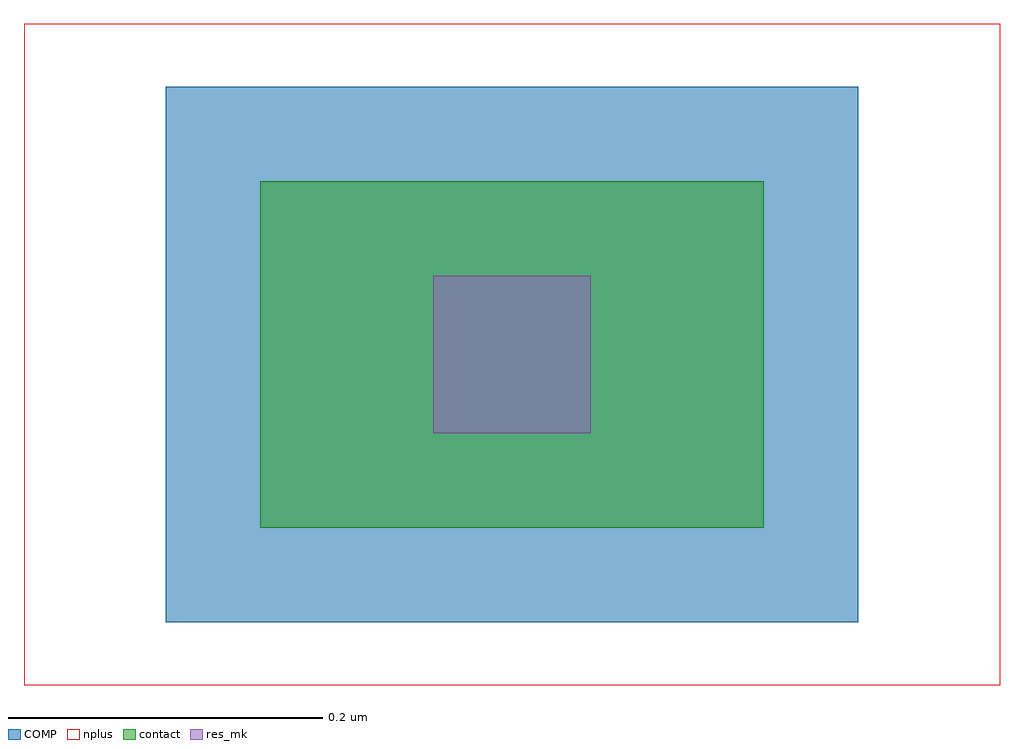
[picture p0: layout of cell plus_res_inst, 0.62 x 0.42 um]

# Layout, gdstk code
import gdstk
lib = gdstk.Library(unit=1e-6, precision=1e-09)
def R(c, l, rs):  # rectangles x0, y0, x1, y1
    for r in rs: c.add(gdstk.rectangle(r[:2], r[2:], *l))
COMP = (22, 0)
nplus = (32, 0)
contact = (33, 0)
res_mk = (110, 5)

compass_43289b1a = lib.new_cell('compass_43289b1a')
R(compass_43289b1a, res_mk, [(-0.05,-0.05,0.05,0.05)])

rectangle_43289b1a = lib.new_cell('rectangle_43289b1a')
rectangle_43289b1a.add(gdstk.Reference(compass_43289b1a, (0.05,0.05)))

compass_607d0bd8 = lib.new_cell('compass_607d0bd8')
R(compass_607d0bd8, COMP, [(-0.15,-0.05,0.15,0.05)])

rectangle_607d0bd8 = lib.new_cell('rectangle_607d0bd8')
rectangle_607d0bd8.add(gdstk.Reference(compass_607d0bd8, (0.15,0.05)))

compass_f38dc993 = lib.new_cell('compass_f38dc993')
R(compass_f38dc993, contact, [(-0.11,-0.11,0.11,0.11)])

rectangle_f38dc993 = lib.new_cell('rectangle_f38dc993')
rectangle_f38dc993.add(gdstk.Reference(compass_f38dc993, (0.11,0.11)))

via_generator_00b8456f = lib.new_cell('via_generator_00b8456f')
r = gdstk.Reference(rectangle_f38dc993, (-0.11,-0.06)); r.repetition = gdstk.Repetition(1, 1, v1=(0.5,0), v2=(0,0.5)); via_generator_00b8456f.add(r)

compass_9deecdff = lib.new_cell('compass_9deecdff')
R(compass_9deecdff, COMP, [(-0.17,-0.17,0.17,0.17)])

rectangle_9deecdff = lib.new_cell('rectangle_9deecdff')
rectangle_9deecdff.add(gdstk.Reference(compass_9deecdff, (0.17,0.17)))

via_stack_0bbaeda3 = lib.new_cell('via_stack_0bbaeda3')
via_stack_0bbaeda3.add(gdstk.Reference(via_generator_00b8456f, (0,0)))
via_stack_0bbaeda3.add(gdstk.Reference(rectangle_9deecdff, (-0.17,-0.12)))

compass_9a64cce0 = lib.new_cell('compass_9a64cce0')
R(compass_9a64cce0, nplus, [(-0.31,-0.21,0.31,0.21)])

rectangle_9a64cce0 = lib.new_cell('rectangle_9a64cce0')
rectangle_9a64cce0.add(gdstk.Reference(compass_9a64cce0, (0.31,0.21)))

plus_res_inst = lib.new_cell('plus_res_inst')
plus_res_inst.add(gdstk.Reference(rectangle_43289b1a, (0,0)))
plus_res_inst.add(gdstk.Reference(rectangle_607d0bd8, (-0.1,0)))
r = gdstk.Reference(via_stack_0bbaeda3, (0,0)); r.repetition = gdstk.Repetition(2, 1, v1=(0.1,0), v2=(0,1)); plus_res_inst.add(r)
plus_res_inst.add(gdstk.Reference(rectangle_9a64cce0, (-0.26,-0.16)))

lib.write_gds('plus_res_inst.gds')
